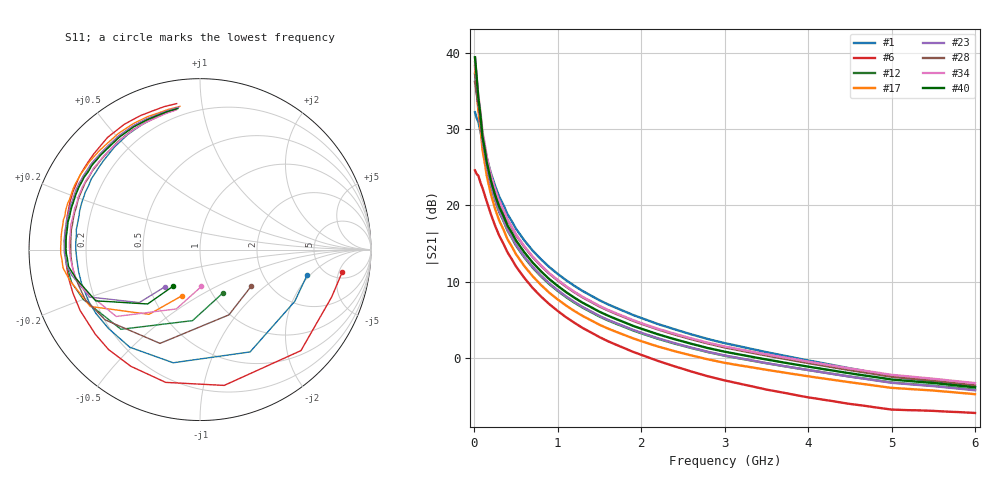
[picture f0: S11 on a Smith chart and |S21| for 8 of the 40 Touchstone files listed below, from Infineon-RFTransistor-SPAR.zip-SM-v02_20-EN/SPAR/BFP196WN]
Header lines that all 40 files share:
! Infineon Technologies  Discrete & RF Semiconductors
! BFP196WN
! Common Emitter S-Parameters:  Jan 2017
# GHz  S  MA  R  50
!  f  S11  S21  S12  S22
! GHz  MAG  ANG  MAG  ANG  MAG  ANG  MAG  ANG
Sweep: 10 MHz to 6 GHz
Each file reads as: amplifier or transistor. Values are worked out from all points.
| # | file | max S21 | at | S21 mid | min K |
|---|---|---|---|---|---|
| 1 | BFP196WN_VCE_9.0V_IC_15mA.s2p | 32.2 dB | 10 MHz | 4.5 dB at 2.2 GHz | 0.02 |
| 2 | BFP196WN_VCE_10.V_IC_15mA.s2p | 32.2 dB | 10 MHz | 4.5 dB at 2.2 GHz | 0.07 |
| 3 | BFP196WN_VCE_11.V_IC_15mA.s2p | 32.2 dB | 10 MHz | 4.6 dB at 2.2 GHz | 0.09 |
| 4 | BFP196WN_VCE_12.V_IC_15mA.s2p | 32.2 dB | 10 MHz | 4.6 dB at 2.2 GHz | 0.14 |
| 5 | BFP196WN_w_noise_VCE_1.0V_IC_0.10A.s2p | 37.0 dB | 10 MHz | -2.1 dB at 2.2 GHz | 0.55 |
| 6 | BFP196WN_w_noise_VCE_1.0V_IC_5.0mA.s2p | 24.6 dB | 10 MHz | -0.4 dB at 2.2 GHz | 0.00 |
| 7 | BFP196WN_w_noise_VCE_1.0V_IC_10mA.s2p | 29.7 dB | 10 MHz | 1.4 dB at 2.2 GHz | 0.04 |
| 8 | BFP196WN_w_noise_VCE_1.0V_IC_20mA.s2p | 34.0 dB | 10 MHz | 2.3 dB at 2.2 GHz | 0.07 |
| 9 | BFP196WN_w_noise_VCE_1.0V_IC_25mA.s2p | 35.2 dB | 10 MHz | 2.5 dB at 2.2 GHz | 0.08 |
| 10 | BFP196WN_w_noise_VCE_1.0V_IC_30mA.s2p | 36.1 dB | 10 MHz | 2.6 dB at 2.2 GHz | 0.11 |
| 11 | BFP196WN_w_noise_VCE_1.0V_IC_35mA.s2p | 36.7 dB | 10 MHz | 2.6 dB at 2.2 GHz | 0.14 |
| 12 | BFP196WN_w_noise_VCE_1.0V_IC_40mA.s2p | 37.2 dB | 10 MHz | 2.5 dB at 2.2 GHz | 0.15 |
| 13 | BFP196WN_w_noise_VCE_1.0V_IC_45mA.s2p | 37.6 dB | 10 MHz | 2.5 dB at 2.2 GHz | 0.17 |
| 14 | BFP196WN_w_noise_VCE_1.0V_IC_50mA.s2p | 37.9 dB | 10 MHz | 2.3 dB at 2.2 GHz | 0.20 |
| 15 | BFP196WN_w_noise_VCE_1.0V_IC_55mA.s2p | 38.1 dB | 10 MHz | 2.1 dB at 2.2 GHz | 0.22 |
| 16 | BFP196WN_w_noise_VCE_1.0V_IC_60mA.s2p | 38.3 dB | 10 MHz | 1.9 dB at 2.2 GHz | 0.26 |
| 17 | BFP196WN_w_noise_VCE_1.0V_IC_65mA.s2p | 38.3 dB | 10 MHz | 1.5 dB at 2.2 GHz | 0.29 |
| 18 | BFP196WN_w_noise_VCE_1.0V_IC_70mA.s2p | 38.3 dB | 10 MHz | 1.1 dB at 2.2 GHz | 0.30 |
| 19 | BFP196WN_w_noise_VCE_1.0V_IC_75mA.s2p | 38.2 dB | 10 MHz | 0.6 dB at 2.2 GHz | 0.35 |
| 20 | BFP196WN_w_noise_VCE_1.0V_IC_80mA.s2p | 38.0 dB | 10 MHz | 0.1 dB at 2.2 GHz | 0.39 |
| 21 | BFP196WN_w_noise_VCE_1.0V_IC_85mA.s2p | 37.8 dB | 10 MHz | -0.5 dB at 2.2 GHz | 0.43 |
| 22 | BFP196WN_w_noise_VCE_1.0V_IC_90mA.s2p | 37.6 dB | 10 MHz | -1.0 dB at 2.2 GHz | 0.47 |
| 23 | BFP196WN_w_noise_VCE_2.0V_IC_0.10A.s2p | 39.3 dB | 10 MHz | 2.6 dB at 2.2 GHz | 0.37 |
| 24 | BFP196WN_w_noise_VCE_2.0V_IC_5.0mA.s2p | 24.6 dB | 10 MHz | 0.5 dB at 2.2 GHz | -0.01 |
| 25 | BFP196WN_w_noise_VCE_2.0V_IC_10mA.s2p | 29.7 dB | 10 MHz | 2.3 dB at 2.2 GHz | 0.03 |
| 26 | BFP196WN_w_noise_VCE_2.0V_IC_20mA.s2p | 34.1 dB | 10 MHz | 3.4 dB at 2.2 GHz | 0.05 |
| 27 | BFP196WN_w_noise_VCE_2.0V_IC_25mA.s2p | 35.3 dB | 10 MHz | 3.6 dB at 2.2 GHz | 0.08 |
| 28 | BFP196WN_w_noise_VCE_2.0V_IC_30mA.s2p | 36.2 dB | 10 MHz | 3.8 dB at 2.2 GHz | 0.10 |
| 29 | BFP196WN_w_noise_VCE_2.0V_IC_35mA.s2p | 36.9 dB | 10 MHz | 3.8 dB at 2.2 GHz | 0.12 |
| 30 | BFP196WN_w_noise_VCE_2.0V_IC_40mA.s2p | 37.4 dB | 10 MHz | 3.9 dB at 2.2 GHz | 0.14 |
| 31 | BFP196WN_w_noise_VCE_2.0V_IC_45mA.s2p | 37.8 dB | 10 MHz | 3.9 dB at 2.2 GHz | 0.16 |
| 32 | BFP196WN_w_noise_VCE_2.0V_IC_50mA.s2p | 38.2 dB | 10 MHz | 3.9 dB at 2.2 GHz | 0.18 |
| 33 | BFP196WN_w_noise_VCE_2.0V_IC_55mA.s2p | 38.5 dB | 10 MHz | 3.9 dB at 2.2 GHz | 0.20 |
| 34 | BFP196WN_w_noise_VCE_2.0V_IC_60mA.s2p | 38.8 dB | 10 MHz | 3.8 dB at 2.2 GHz | 0.21 |
| 35 | BFP196WN_w_noise_VCE_2.0V_IC_65mA.s2p | 39.0 dB | 10 MHz | 3.8 dB at 2.2 GHz | 0.22 |
| 36 | BFP196WN_w_noise_VCE_2.0V_IC_70mA.s2p | 39.1 dB | 10 MHz | 3.7 dB at 2.2 GHz | 0.25 |
| 37 | BFP196WN_w_noise_VCE_2.0V_IC_75mA.s2p | 39.2 dB | 10 MHz | 3.6 dB at 2.2 GHz | 0.27 |
| 38 | BFP196WN_w_noise_VCE_2.0V_IC_80mA.s2p | 39.3 dB | 10 MHz | 3.5 dB at 2.2 GHz | 0.27 |
| 39 | BFP196WN_w_noise_VCE_2.0V_IC_85mA.s2p | 39.4 dB | 10 MHz | 3.3 dB at 2.2 GHz | 0.30 |
| 40 | BFP196WN_w_noise_VCE_2.0V_IC_90mA.s2p | 39.4 dB | 10 MHz | 3.1 dB at 2.2 GHz | 0.31 |

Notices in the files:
Hoja de datos/BFP 450/Infineon-RFTransistor-SPAR.zip-SM-v02_20-EN/SPAR/BFP196WN/BFP196WN_VCE_10.V_IC_15mA.s2p:
(c) 2017  Infineon Technologies AG, Munich
